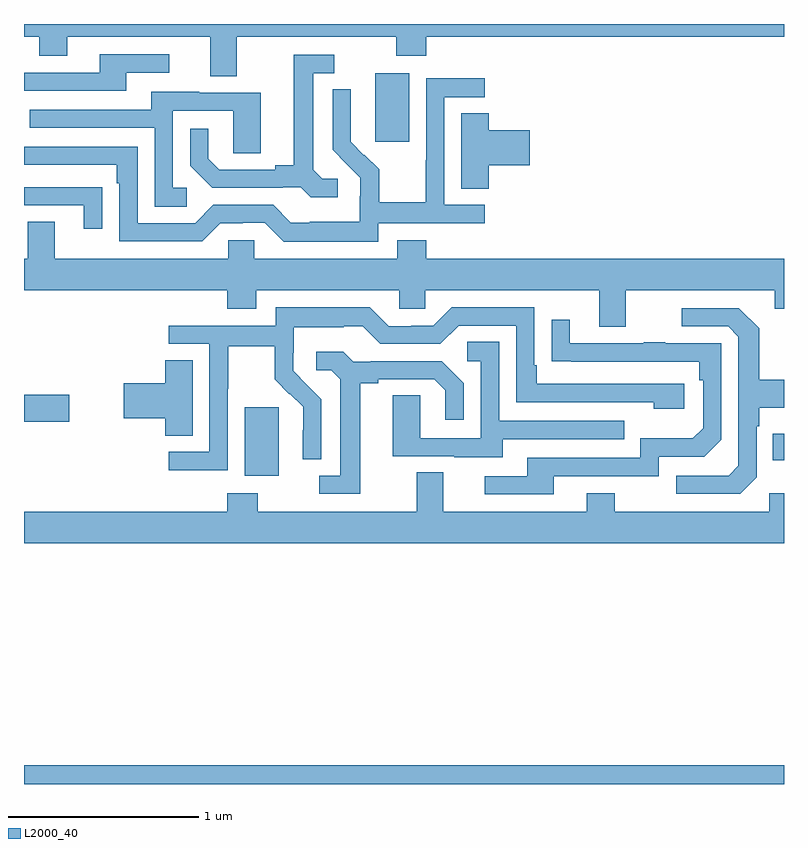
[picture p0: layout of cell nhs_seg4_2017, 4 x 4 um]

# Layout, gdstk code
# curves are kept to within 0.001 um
import gdstk
lib = gdstk.Library(unit=1e-6, precision=1e-09)
def R(c, l, rs):  # rectangles x0, y0, x1, y1
    for r in rs: c.add(gdstk.rectangle(r[:2], r[2:], *l))
def P(c, l, *ps):  # polygons
    for p in ps: c.add(gdstk.Polygon(p, *l))
L2000_40 = (2000, 40)

nhs_seg4_2017 = lib.new_cell('nhs_seg4_2017')
R(nhs_seg4_2017, L2000_40, [(215,780.9,219,781), (216.161,782.522,216.34,782.883), (218.941,782.603,219,782.743), (215,782.806,215.239,782.948), (216.848,784.281,217.027,784.642)])
P(nhs_seg4_2017, L2000_40, [(216.121,784.832),(216.958,784.832),(216.958,784.733),(217.118,784.733),(217.118,784.832),(219,784.832),(219,784.9),(215,784.9),(215,784.832),(215.08,784.832),(215.08,784.733),(215.227,784.733),(215.227,784.832),(215.981,784.832),(215.981,784.624),(216.121,784.624)],
  [(215.539,784.644),(215.764,784.644),(215.764,784.74),(215.399,784.74),(215.399,784.644),(215,784.644),(215,784.548),(215.539,784.548)],
  [(216.652,784.086),(216.57,784.086),(216.523,784.133),(216.523,784.641),(216.634,784.641),(216.634,784.737),(216.419,784.737),(216.419,784.157),(216.323,784.157),(216.323,784.134),(216.028,784.134),(215.971,784.191),(215.971,784.348),(215.874,784.348),(215.874,784.154),(215.99,784.038),(216.362,784.038),(216.362,784.041),(216.456,784.041),(216.508,783.989),(216.652,783.989)],
  [(216.864,783.852),(217.426,783.852),(217.426,783.948),(217.212,783.948),(217.212,784.515),(217.426,784.515),(217.426,784.614),(217.116,784.614),(217.116,784.184),(217.114,784.184),(217.114,783.961),(216.869,783.961),(216.869,784.135),(216.792,784.212),(216.789,784.209),(216.719,784.28),(216.72,784.556),(216.624,784.556),(216.624,784.238),(216.77,784.09),(216.77,783.993),(216.768,783.993),(216.768,783.859),(216.505,783.859),(216.505,783.855),(216.405,783.855),(216.312,783.948),(215.997,783.948),(215.901,783.852),(215.598,783.852),(215.598,784.254),(215,784.254),(215,784.158),(215.489,784.158),(215.489,784.061),(215.502,784.061),(215.502,783.756),(215.937,783.756),(216.033,783.852),(216.152,783.852),(216.152,783.855),(216.267,783.855),(216.367,783.755),(216.864,783.755)],
  [(215.857,784.038),(215.784,784.038),(215.784,784.443),(216.102,784.443),(216.102,784.219),(216.247,784.219),(216.247,784.539),(215.923,784.539),(215.923,784.543),(215.669,784.543),(215.669,784.449),(215.029,784.449),(215.029,784.353),(215.688,784.353),(215.688,783.937),(215.857,783.937)],
  [(217.445,784.157),(217.663,784.157),(217.663,784.34),(217.445,784.34),(217.445,784.43),(217.301,784.43),(217.301,784.033),(217.445,784.033)],
  [(215.411,784.04),(215.309,784.04),(215.309,784.041),(215,784.041),(215,783.945),(215.315,783.945),(215.315,783.822),(215.411,783.822)],
  [(218.167,783.5),(218.951,783.5),(218.951,783.401),(219,783.401),(219,783.664),(217.118,783.664),(217.118,783.763),(216.965,783.763),(216.965,783.664),(216.213,783.664),(216.213,783.762),(216.075,783.762),(216.075,783.664),(215.161,783.664),(215.161,783.859),(215.021,783.859),(215.021,783.664),(215,783.664),(215,783.5),(216.071,783.5),(216.071,783.401),(216.223,783.401),(216.223,783.5),(216.975,783.5),(216.975,783.402),(217.113,783.402),(217.113,783.5),(218.027,783.5),(218.027,783.306),(218.167,783.306)],
  [(216.072,782.98),(216.075,782.98),(216.075,783.204),(216.319,783.204),(216.319,783.029),(216.396,782.952),(216.399,782.955),(216.47,782.885),(216.47,782.762),(216.468,782.762),(216.468,782.608),(216.564,782.608),(216.564,782.926),(216.418,783.074),(216.418,783.171),(216.42,783.171),(216.42,783.305),(216.683,783.305),(216.683,783.309),(216.783,783.309),(216.876,783.216),(217.191,783.216),(217.287,783.312),(217.59,783.312),(217.59,782.91),(218.315,782.91),(218.315,782.876),(218.476,782.876),(218.476,783.006),(217.699,783.006),(217.699,783.103),(217.686,783.103),(217.686,783.408),(217.251,783.408),(217.155,783.312),(217.037,783.312),(217.037,783.309),(216.921,783.309),(216.821,783.409),(216.324,783.409),(216.324,783.312),(215.763,783.312),(215.763,783.216),(215.976,783.216),(215.976,782.649),(215.763,782.649),(215.763,782.551),(216.072,782.551)],
  [(218.856,782.514),(218.856,782.783),(218.869,782.783),(218.869,782.879),(219,782.879),(219,783.027),(218.869,783.027),(218.869,783.299),(218.763,783.405),(218.463,783.405),(218.463,783.309),(218.706,783.309),(218.76,783.255),(218.76,782.574),(218.709,782.523),(218.433,782.523),(218.433,782.427),(218.769,782.427)],
  [(217.789,782.52),(218.34,782.52),(218.34,782.622),(218.58,782.622),(218.67,782.712),(218.67,783.219),(218.375,783.219),(218.375,783.224),(218.263,783.224),(218.263,783.219),(217.873,783.219),(217.873,783.343),(217.777,783.343),(217.777,783.124),(218.554,783.123),(218.554,783.026),(218.574,783.026),(218.574,782.772),(218.521,782.719),(218.244,782.719),(218.244,782.616),(217.649,782.616),(217.649,782.52),(217.425,782.52),(217.425,782.424),(217.789,782.424)],
  [(217.519,782.715),(218.159,782.715),(218.159,782.811),(217.5,782.811),(217.5,783.227),(217.332,783.227),(217.332,783.126),(217.404,783.126),(217.404,782.721),(217.086,782.721),(217.086,782.945),(216.941,782.945),(216.941,782.625),(217.265,782.625),(217.265,782.621),(217.519,782.621)],
  [(216.769,783.008),(216.865,783.008),(216.865,783.03),(217.16,783.03),(217.217,782.973),(217.217,782.817),(217.314,782.817),(217.314,783.01),(217.198,783.126),(216.826,783.126),(216.826,783.123),(216.732,783.123),(216.68,783.175),(216.537,783.175),(216.537,783.078),(216.618,783.078),(216.665,783.031),(216.665,782.523),(216.555,782.523),(216.555,782.427),(216.769,782.427)],
  [(215.887,783.131),(215.744,783.131),(215.744,783.008),(215.526,783.008),(215.526,782.825),(215.744,782.825),(215.744,782.734),(215.887,782.734)],
  [(219,782.431),(218.922,782.431),(218.922,782.332),(218.109,782.332),(218.109,782.431),(217.961,782.431),(217.961,782.332),(217.207,782.332),(217.207,782.54),(217.067,782.54),(217.067,782.332),(216.231,782.332),(216.231,782.431),(216.071,782.431),(216.071,782.332),(215,782.332),(215,782.168),(219,782.168)])

lib.write_gds('nhs_seg4_2017.gds')
